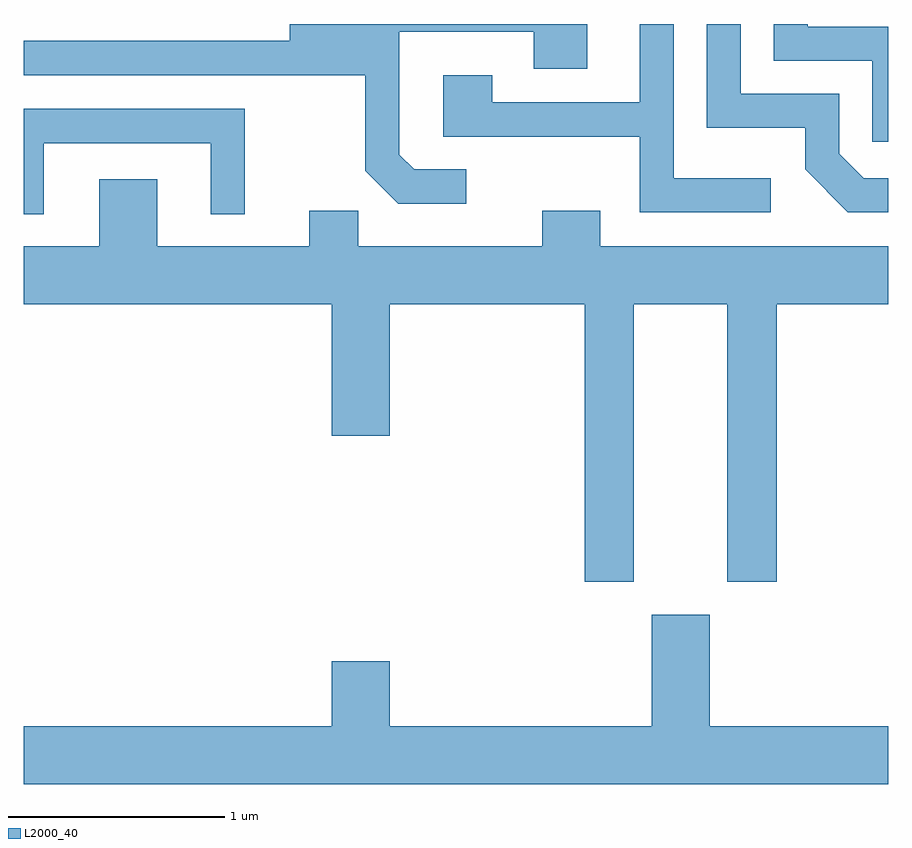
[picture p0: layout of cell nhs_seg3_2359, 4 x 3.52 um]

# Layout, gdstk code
import gdstk
lib = gdstk.Library(unit=1e-6, precision=1e-09)
def P(c, l, *ps):  # polygons
    for p in ps: c.add(gdstk.Polygon(p, *l))
L2000_40 = (2000, 40)

nhs_seg3_2359 = lib.new_cell('nhs_seg3_2359')
P(nhs_seg3_2359, L2000_40, [(257.611,1213.179),(257.497,1213.179),(257.384,1213.292),(257.384,1213.569),(256.929,1213.569),(256.929,1213.892),(256.771,1213.892),(256.771,1213.411),(257.226,1213.411),(257.226,1213.219),(257.424,1213.021),(257.611,1213.021)],
  [(257.611,1213.879),(257.239,1213.879),(257.239,1213.892),(257.081,1213.892),(257.081,1213.721),(257.536,1213.721),(257.536,1213.348),(257.611,1213.348)],
  [(255.658,1213.219),(255.417,1213.219),(255.349,1213.287),(255.349,1213.856),(255.971,1213.856),(255.971,1213.686),(256.219,1213.686),(256.219,1213.892),(254.841,1213.892),(254.841,1213.814),(253.611,1213.814),(253.611,1213.656),(255.191,1213.656),(255.191,1213.214),(255.344,1213.061),(255.658,1213.061)],
  [(257.068,1213.179),(256.619,1213.179),(256.619,1213.892),(256.461,1213.892),(256.461,1213.529),(255.779,1213.529),(255.779,1213.654),(255.551,1213.654),(255.551,1213.371),(256.461,1213.371),(256.461,1213.021),(257.068,1213.021)],
  [(253.704,1213.341),(254.476,1213.341),(254.476,1213.013),(254.634,1213.013),(254.634,1213.499),(253.611,1213.499),(253.611,1213.013),(253.704,1213.013)],
  [(256.434,1212.596),(256.866,1212.596),(256.866,1211.311),(257.094,1211.311),(257.094,1212.596),(257.611,1212.596),(257.611,1212.864),(256.279,1212.864),(256.279,1213.029),(256.011,1213.029),(256.011,1212.864),(255.159,1212.864),(255.159,1213.029),(254.931,1213.029),(254.931,1212.864),(254.229,1212.864),(254.229,1213.174),(253.961,1213.174),(253.961,1212.864),(253.611,1212.864),(253.611,1212.596),(255.036,1212.596),(255.036,1211.986),(255.304,1211.986),(255.304,1212.596),(256.206,1212.596),(256.206,1211.311),(256.434,1211.311)],
  [(257.611,1210.644),(256.784,1210.644),(256.784,1211.159),(256.516,1211.159),(256.516,1210.644),(255.304,1210.644),(255.304,1210.944),(255.036,1210.944),(255.036,1210.644),(253.611,1210.644),(253.611,1210.376),(257.611,1210.376)])

lib.write_gds('nhs_seg3_2359.gds')
